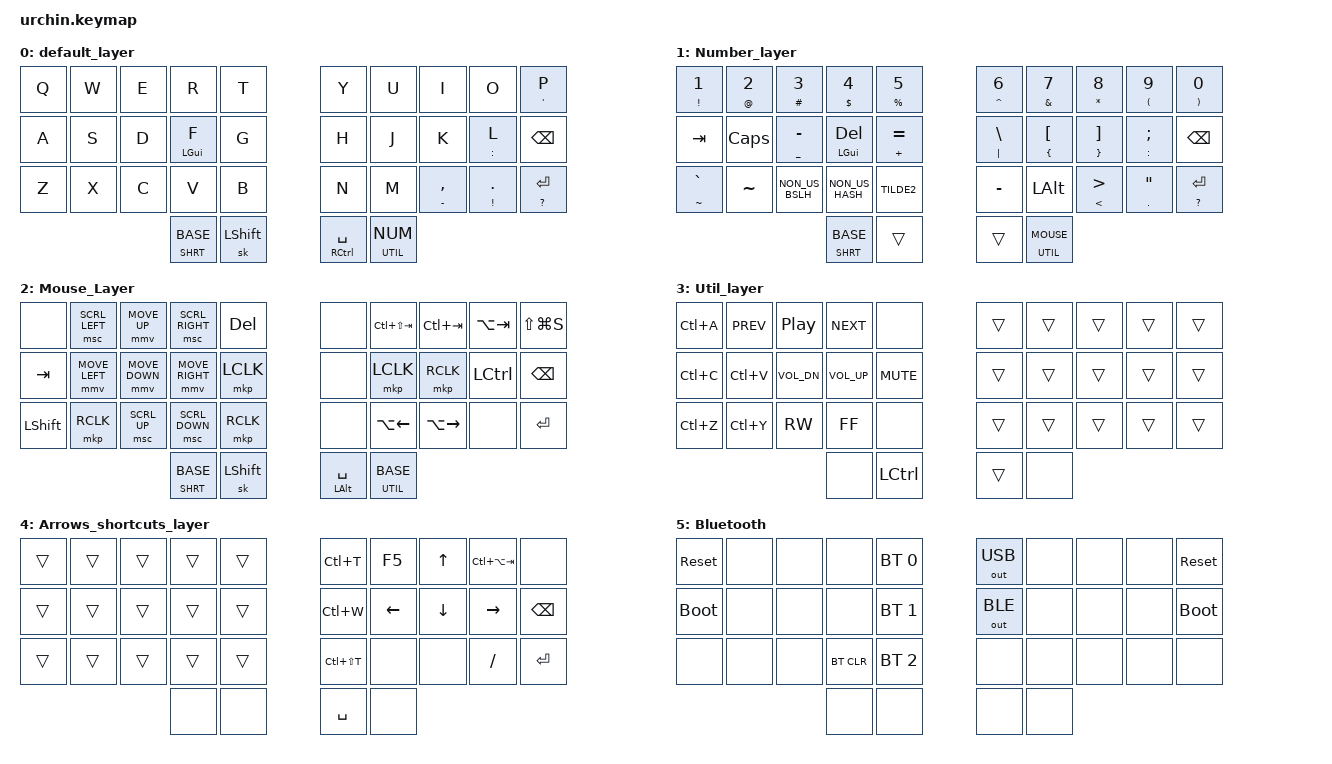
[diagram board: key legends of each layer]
/*
 * Copyright (c) 2020 duckyb
 *
 * SPDX-License-Identifier: MIT
 */

#define ZMK_MOUSE_DEFAULT_MOVE_VAL 3000  // 600
#define ZMK_MOUSE_DEFAULT_SCRL_VAL 40    // 10

#include <behaviors.dtsi>
#include <dt-bindings/zmk/keys.h>
#include <dt-bindings/zmk/bt.h>
#include <dt-bindings/zmk/outputs.h>
#include <dt-bindings/zmk/pointing.h>



// Layer definitions
#define BASE 0
#define NUM 1
#define MOUSE 2
#define UTIL 3
#define SHRT 4
#define BLUE 5
// -----------------

// This section is adjusting included behaviors and declaring optional parameters

&mt {
    flavor = "tap-preferred";
    tapping_term_ms = <250>;
};

&sk {
    release-after-ms = <2000>;
    quick-release;
};

&msc {
    acceleration-exponent=<1>;
};

&mmv {
    acceleration-exponent=<1>;
};

/ {




	combos {
		compatible = "zmk,combos";
// Combo to reach BLUE layer for connection settings and bluetooth profiles (also for forcing BLE instead of USB and vice versa) toggles just like MMO
// Also set it so this combo should only work from base layer, so bail-out then BLUE.
         combo_BLUE { 
            timeout-ms = <50>;
            key-positions = <31 32>;
	    layers = <0>;
            bindings = <&tog BLUE>;
                  };
		  
// This is the "bail-out" combo if you're ever lost, this will take you back to the base layer
         combo_HOME { 
            timeout-ms = <50>;
            key-positions = <30 31>;
            bindings = <&to 0>;
                  };
            
	    };

// This is where custom behaviors can be defined        
behaviors {

// This behavior lets me have a layer on holding a key, or move to another layer on tap.
moto: behavior_moto {
            compatible = "zmk,behavior-hold-tap";
            label = "moto";
            #binding-cells = <2>;
            flavor = "tap-preferred";
            tapping-term-ms = <250>;
            bindings = <&mo>, <&to>;
        };
};

	keymap {
		compatible = "zmk,keymap";
        default_layer { // BASE
            bindings = <
        //╭──────────┬──────────┬──────────┬──────────┬──────────╮   ╭──────────┬──────────┬──────────┬──────────┬──────────╮
        //│  Q       │  W       │  E       │  R       │  T       │   │  Y       │  U       │  I       │  O       │  P (')   │
            &kp Q      &kp W      &kp E      &kp R      &kp T          &kp Y      &kp U      &kp I      &kp O      &mt APOS P
        //├──────────┼──────────┼──────────┼──────────┼──────────┤   ├──────────┼──────────┼──────────┼──────────┼──────────┤
        //│  A       │  S       │  D       │  F (LGUI)│  G       │   │  H       │  J       │  K       │  L (:)   │ Backspace│
            &kp A      &kp S      &kp D     &mt LGUI F &kp G          &kp H      &kp J      &kp K      &mt COLON L &kp BKSP
        //├──────────┼──────────┼──────────┼──────────┼──────────┤   ├──────────┼──────────┼──────────┼──────────┼──────────┤
        //│  Z       │  X       │  C       │  V       │  B       │   │  N       │  M       │ , (-)    │ . (!)    │  Enter (?)
            &kp Z      &kp X      &kp C      &kp V      &kp B         &kp N     &kp M &mt MINUS COMMA &mt EXCL DOT &mt QMARK RET
        //╰──────────┴──────────┴──────────┼──────────┼──────────┤   ├──────────┼──────────┼──────────┴──────────┴──────────╯
                                       &moto SHRT BASE &sk LSHIFT      &mt RCTRL SPACE  &moto UTIL NUM
        //                                 ╰──────────┴──────────╯   ╰──────────┴──────────╯
            >;
        };

 Number_layer { // NUM
            bindings = <
        //╭──────────┬──────────┬──────────┬──────────┬──────────╮   ╭──────────┬──────────┬──────────┬──────────┬──────────╮
        //│ 1 (!)    │  2 (@)   │  3 (#)   │  4 ($)   │  5 (%)   │   │  6 (^)   │   7 (&)  │   8 (*)  │ 9 "("    │  0 ")"   │
         &mt EXCL N1 &mt AT N2  &mt HASH N3 &mt DLLR N4 &mt PRCNT N5 &mt CARET N6 &mt AMPS N7 &mt STAR N8 &mt LPAR N9 &mt RPAR N0   
        //├──────────┼──────────┼──────────┼──────────┼──────────┤   ├──────────┼──────────┼──────────┼──────────┼──────────┤
        //│ DELETE   │  4       │  5       │  6       │          │   │ LEFT     │ DOWN     │ UP       │ RIGHT    │  ;       │
          &kp TAB  &kp CAPS  &mt UNDER MINUS  &mt LGUI DEL  &mt PLUS EQUAL &mt PIPE BACKSLASH &mt LBRC LBKT &mt RBRC RBKT &mt COLON SEMI  &kp BKSP 
        //├──────────┼──────────┼──────────┼──────────┼──────────┤   ├──────────┼──────────┼──────────┼──────────┼──────────┤
        //│ CAPS     │  7       │  8       │  9       │  0       │   │          │          │          │          │          │
         &mt TILDE GRAVE    &kp TILDE 	&kp NON_US_BSLH &kp NON_US_HASH  &kp TILDE2 &kp MINUS &kp LALT &mt LESS_THAN GREATER_THAN &mt DOT DQT  &mt QMARK RET   
        //╰──────────┴──────────┴──────────┼──────────┼──────────┤   ├──────────┼──────────┼──────────┴──────────┴──────────╯
                                          &moto SHRT BASE &trans        &trans   &moto UTIL MOUSE
        //                                 ╰──────────┴──────────╯   ╰──────────┴──────────╯
            >;
        };
        Mouse_Layer { // MOUSE
            bindings = <
        //╭──────────┬──────────┬──────────┬──────────┬──────────╮   ╭──────────┬──────────┬──────────┬──────────┬──────────╮
        //│          │          │          │          │          │   │          │          │          │          │          │
       &none &msc SCRL_LEFT &mmv MOVE_UP &msc SCRL_RIGHT &kp DEL         &none &kp LC(LS(TAB)) &kp LC(TAB) &kp LA(TAB) &kp LS(LG(S)) 
        //├──────────┼──────────┼──────────┼──────────┼──────────┤   ├──────────┼──────────┼──────────┼──────────┼──────────┤
        //│          │          │          │          │          │   │          │          │          │          │          │
          &kp TAB    &mmv MOVE_LEFT    &mmv MOVE_DOWN     &mmv MOVE_RIGHT    &mkp LCLK           &none    &mkp LCLK    &mkp RCLK  &kp LCTRL    &kp BSPC
        //├──────────┼──────────┼──────────┼──────────┼──────────┤   ├──────────┼──────────┼──────────┼──────────┼──────────┤
        //│          │          │          │          │          │   │          │          │          │          │          │
         &kp LSHIFT &mkp RCLK &msc SCRL_UP &msc SCRL_DOWN &mkp RCLK  &none     &kp LA(LEFT)  &kp LA(RIGHT)  &none &kp RET
        //╰──────────┴──────────┴──────────┼──────────┼──────────┤   ├──────────┼──────────┼──────────┴──────────┴──────────╯
                                         &moto SHRT BASE &sk LSHIFT  &mt LALT SPACE &moto UTIL BASE
        //                                 ╰──────────┴──────────╯   ╰──────────┴──────────╯
            >;
        };
        Util_layer { // UTIL
            bindings = <
        //╭──────────┬──────────┬──────────┬──────────┬──────────╮   ╭──────────┬──────────┬──────────┬──────────┬──────────╮
        //│          │          │          │          │          |   │          │          │          │          │          |
           &kp LC(A)     &kp C_PREV  &kp C_PP   &kp C_NEXT &none           &trans     &trans     &trans      &trans     &trans
        //├──────────┼──────────┼──────────┼──────────┼──────────┤   ├──────────┼──────────┼──────────┼──────────┼──────────┤
        //│          │          │          │          │          │   │          │          │          │          │          │
           &kp LC(C) &kp LC(V) &kp C_VOL_DN &kp C_VOL_UP  &kp C_MUTE       &trans     &trans     &trans      &trans     &trans
        //├──────────┼──────────┼──────────┼──────────┼──────────┤   ├──────────┼──────────┼──────────┼──────────┼──────────┤
        //│          │          │          │          │          │   │          │          │          │          │          │
            &kp LC(Z)   &kp LC(Y)  &kp C_RW  &kp C_FF   &none           &trans     &trans     &trans     &trans     &trans
        //╰──────────┴──────────┴──────────┼──────────┼──────────┤   ├──────────┼──────────┼──────────┴──────────┴──────────╯
                                             &none     &kp LCTRL         &trans     &none
        //                                 ╰──────────┴──────────╯   ╰──────────┴──────────╯
            >;
        };

	Arrows_shortcuts_layer { // SHRT
            bindings = <
        //╭──────────┬──────────┬──────────┬──────────┬──────────╮   ╭──────────┬──────────┬──────────┬──────────┬──────────╮
        //│          │          │          │          │          │   │          │          │          │          │          │
            &trans     &trans     &trans      &trans     &trans        &kp LC(T)     &kp F5      &kp UP      &kp LC(LA(TAB))      &none      
        //├──────────┼──────────┼──────────┼──────────┼──────────┤   ├──────────┼──────────┼──────────┼──────────┼──────────┤
        //│          │          │          │          │          │   │          │          │          │          │          │
            &trans     &trans     &trans      &trans     &trans       &kp LC(W)       &kp LEFT   &kp DOWN  &kp RIGHT   &kp BSPC      
        //├──────────┼──────────┼──────────┼──────────┼──────────┤   ├──────────┼──────────┼──────────┼──────────┼──────────┤
        //│          │          │          │          │          │   │          │          │          │          │          │
            &trans     &trans     &trans      &trans     &trans       &kp LC(LS(T))      &none      &none  &kp SLASH  &kp RET      
        //╰──────────┴──────────┴──────────┼──────────┼──────────┤   ├──────────┼──────────┼──────────┴──────────┴──────────╯
                                              &none      &none         &kp SPACE     &none                           
        //                                 ╰──────────┴──────────╯   ╰──────────┴──────────╯
            >;
        };

         Bluetooth { // BLUE
            bindings = <
        //╭──────────┬──────────┬──────────┬──────────┬──────────╮   ╭──────────┬──────────┬──────────┬──────────┬──────────╮
        //│ RESET    │          │          │          │PROFILE 0 │   │Force USB │          │          │          │  RESET   │
            &sys_reset     &none      &none      &none     &bt BT_SEL 0   &out OUT_USB &none      &none      &none       &sys_reset
        //├──────────┼──────────┼──────────┼──────────┼──────────┤   ├──────────┼──────────┼──────────┼──────────┼──────────┤
        //│BOOTLOADER│          │          │          │PROFILE 1 │   │Force BLE │          │          │          │BOOTLOADER│
          &bootloader  &none      &none      &none     &bt BT_SEL 1   &out OUT_BLE &none      &none      &none    &bootloader
        //├──────────┼──────────┼──────────┼──────────┼──────────┤   ├──────────┼──────────┼──────────┼──────────┼──────────┤
        //│          │          │          │ CLEAR BT │PROFILE 2 │   │          │          │          │          │          │
            &none      &none      &none     &bt BT_CLR &bt BT_SEL 2    &none      &none      &none      &none      &none 
        //╰──────────┴──────────┴──────────┼──────────┼──────────┤   ├──────────┼──────────┼──────────┴──────────┴──────────╯
                                             &none     &none         &none     &none
        //                                 ╰──────────┴──────────╯   ╰──────────┴──────────╯
            >;
        };
};
};
